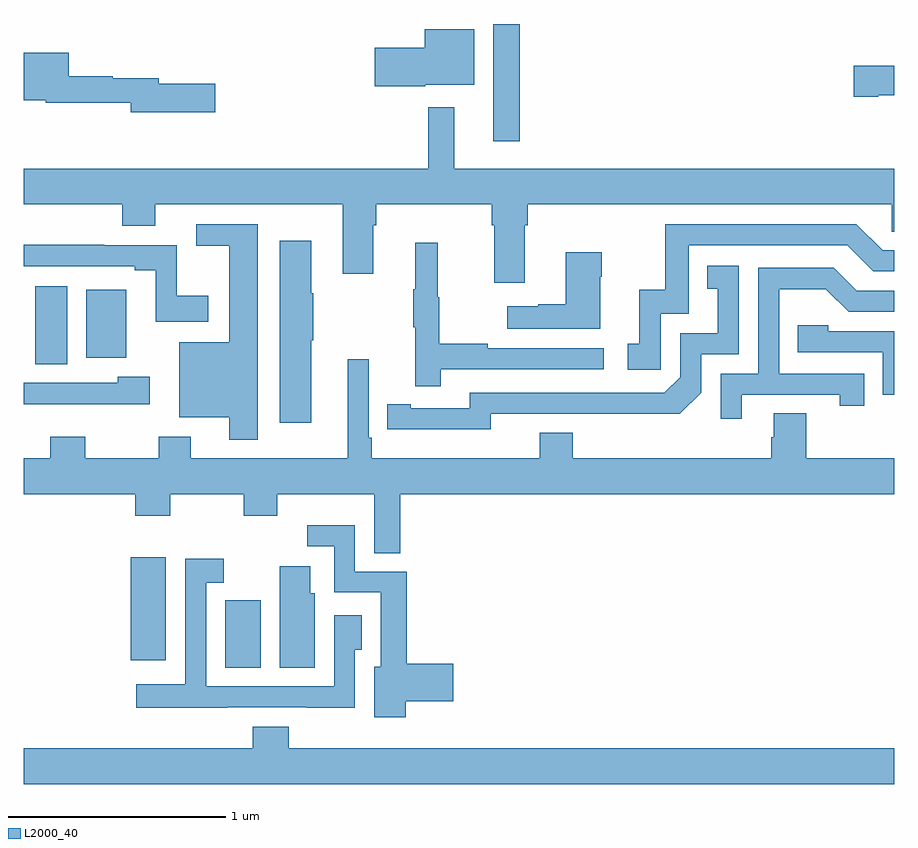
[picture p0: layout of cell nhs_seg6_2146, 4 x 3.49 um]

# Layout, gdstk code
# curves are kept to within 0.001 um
import gdstk
lib = gdstk.Library(unit=1e-6, precision=1e-09)
def R(c, l, rs):  # rectangles x0, y0, x1, y1
    for r in rs: c.add(gdstk.rectangle(r[:2], r[2:], *l))
def P(c, l, *ps):  # polygons
    for p in ps: c.add(gdstk.Polygon(p, *l))
L2000_40 = (2000, 40)

nhs_seg6_2146 = lib.new_cell('nhs_seg6_2146')
R(nhs_seg6_2146, L2000_40, [(239.927,942.541,240.088,942.852), (239.492,942.576,239.653,943.051), (239.054,943.936,239.2,944.296), (239.288,943.967,239.47,944.278), (241.157,944.961,241.279,945.5)])
P(nhs_seg6_2146, L2000_40, [(240.846,945.221),(241.069,945.221),(241.069,945.475),(240.842,945.475),(240.842,945.392),(240.612,945.392),(240.612,945.214),(240.846,945.214)],
  [(239.881,945.225),(239.62,945.225),(239.62,945.251),(239.409,945.251),(239.409,945.259),(239.206,945.259),(239.206,945.367),(239,945.367),(239,945.149),(239.102,945.149),(239.102,945.138),(239.492,945.138),(239.492,945.095),(239.881,945.095)],
  [(242.926,945.173),(243,945.173),(243,945.308),(242.814,945.308),(242.814,945.166),(242.926,945.166)],
  [(241.303,944.576),(241.316,944.576),(241.316,944.672),(242.988,944.672),(242.988,944.545),(243,944.545),(243,944.836),(240.979,944.836),(240.979,945.118),(240.858,945.118),(240.858,944.836),(239,944.836),(239,944.672),(239.453,944.672),(239.453,944.573),(239.605,944.573),(239.605,944.672),(240.467,944.672),(240.467,944.352),(240.607,944.352),(240.607,944.576),(240.62,944.576),(240.62,944.672),(241.151,944.672),(241.151,944.576),(241.163,944.576),(241.163,944.31),(241.303,944.31)],
  [(240.076,944.58),(239.793,944.58),(239.793,944.482),(239.945,944.482),(239.945,944.038),(239.714,944.038),(239.714,943.694),(239.945,943.694),(239.945,943.59),(240.076,943.59)],
  [(241.926,944.169),(242.055,944.169),(242.055,944.484),(242.784,944.484),(242.904,944.364),(243,944.364),(243,944.46),(242.946,944.46),(242.826,944.58),(241.947,944.58),(241.947,944.278),(241.829,944.278),(241.829,944.031),(241.776,944.031),(241.776,943.911),(241.926,943.911)],
  [(240.322,944.047),(240.33,944.047),(240.33,944.264),(240.322,944.264),(240.322,944.503),(240.176,944.503),(240.176,943.668),(240.322,943.668)],
  [(240.917,943.914),(241.666,943.914),(241.666,944.01),(241.133,944.01),(241.133,944.03),(240.91,944.03),(240.91,944.244),(240.902,944.244),(240.902,944.494),(240.8,944.494),(240.8,944.281),(240.789,944.281),(240.789,944.107),(240.8,944.107),(240.8,943.836),(240.917,943.836)],
  [(239.848,944.251),(239.703,944.251),(239.703,944.484),(239.369,944.484),(239.369,944.486),(239,944.486),(239,944.388),(239.51,944.388),(239.51,944.368),(239.606,944.368),(239.606,944.132),(239.848,944.132)],
  [(241.648,944.339),(241.656,944.339),(241.656,944.452),(241.49,944.452),(241.49,944.213),(241.364,944.213),(241.364,944.203),(241.221,944.203),(241.221,944.099),(241.648,944.099)],
  [(241.146,943.71),(242.014,943.709),(242.112,943.806),(242.112,943.983),(242.286,943.983),(242.286,944.389),(242.14,944.389),(242.14,944.283),(242.189,944.283),(242.189,944.079),(242.016,944.079),(242.016,943.878),(241.944,943.806),(241.05,943.806),(241.05,943.734),(240.778,943.734),(240.778,943.754),(240.67,943.754),(240.67,943.638),(241.146,943.637)],
  [(242.299,943.797),(242.75,943.797),(242.75,943.746),(242.861,943.746),(242.861,943.893),(242.472,943.893),(242.472,944.282),(242.686,944.282),(242.79,944.178),(243,944.178),(243,944.274),(242.827,944.274),(242.722,944.379),(242.376,944.379),(242.376,943.893),(242.202,943.893),(242.202,943.686),(242.299,943.686)],
  [(243,944.088),(242.697,944.088),(242.697,944.115),(242.557,944.115),(242.557,943.992),(242.946,943.992),(242.946,943.797),(243,943.797)],
  [(240.73,943.34),(243,943.34),(243,943.504),(242.595,943.504),(242.595,943.712),(242.447,943.712),(242.447,943.602),(242.435,943.602),(242.435,943.504),(241.523,943.504),(241.523,943.621),(241.37,943.621),(241.37,943.504),(240.599,943.504),(240.599,943.6),(240.585,943.6),(240.585,943.96),(240.488,943.96),(240.488,943.504),(239.767,943.504),(239.767,943.603),(239.62,943.603),(239.62,943.504),(239.283,943.504),(239.283,943.603),(239.123,943.603),(239.123,943.504),(239,943.504),(239,943.34),(239.513,943.34),(239.513,943.241),(239.673,943.241),(239.673,943.34),(240.01,943.34),(240.01,943.241),(240.165,943.241),(240.165,943.34),(240.611,943.34),(240.611,943.069),(240.73,943.069)],
  [(239.578,943.879),(239.433,943.879),(239.433,943.851),(239,943.851),(239,943.754),(239.578,943.754)],
  [(240.755,942.389),(240.973,942.389),(240.973,942.56),(240.76,942.56),(240.76,942.984),(240.522,942.984),(240.522,943.198),(240.303,943.198),(240.303,943.101),(240.426,943.101),(240.426,942.888),(240.641,942.888),(240.641,942.547),(240.611,942.547),(240.611,942.315),(240.755,942.315)],
  [(239.935,942.36),(240.301,942.36),(240.301,942.359),(240.522,942.359),(240.522,942.625),(240.553,942.625),(240.553,942.784),(240.426,942.784),(240.426,942.456),(239.838,942.456),(239.838,942.933),(239.92,942.933),(239.92,943.042),(239.742,943.042),(239.742,942.466),(239.517,942.466),(239.517,942.359),(239.935,942.359)],
  [(240.337,942.885),(240.316,942.885),(240.316,943.009),(240.176,943.009),(240.176,942.541),(240.337,942.541)],
  [(243,942.172),(240.218,942.172),(240.218,942.271),(240.053,942.271),(240.053,942.172),(239,942.172),(239,942.008),(243,942.008)])

lib.write_gds('nhs_seg6_2146.gds')
